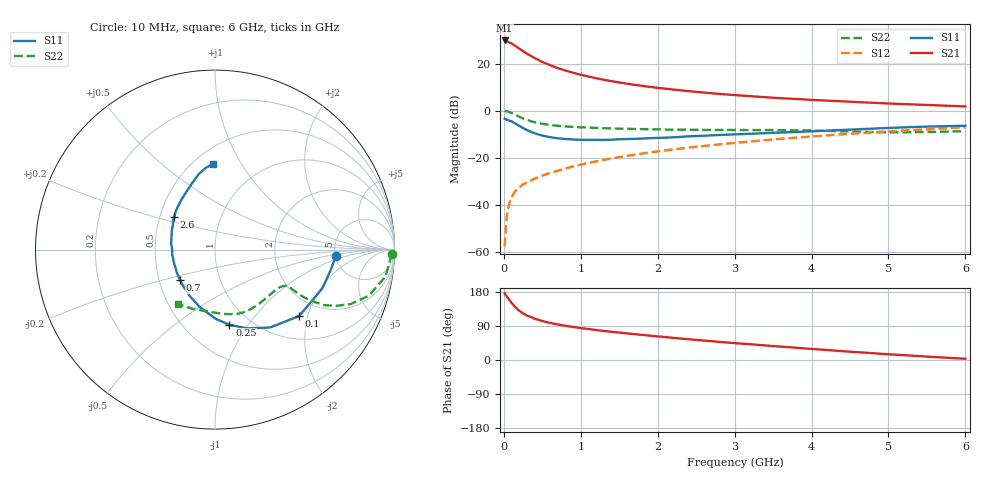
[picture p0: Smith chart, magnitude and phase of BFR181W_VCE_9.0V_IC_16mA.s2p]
! Infineon Technologies  Discrete & RF Semiconductors
! BFR181W
! VCE =  9.0 V,  IC =  16 mA
! Common Emitter S-Parameters:  Jan 2017
# GHz  S  MA  R  50
!  f  S11  S21  S12  S22
! GHz  MAG  ANG  MAG  ANG  MAG  ANG  MAG  ANG
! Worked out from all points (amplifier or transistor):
!   77 points, 10 MHz to 6 GHz, reference 50 ohm
!   highest |S21| = 29.9 dB at 10 MHz (marker M1)
!   |S21| within 3 dB of that: start of sweep to 179.9 MHz
!   unconditionally stable (mu >= 1): 872.7 MHz to 2.786 GHz
!   at 130 MHz: K = 0.33, MSG = 31.6 dB, |S12| = -35.2 dB
!   at 2.2 GHz: K = 1.04, MAG = 11.5 dB, |S12| = -16.5 dB
!   at 6 GHz: K = 0.84, MSG = 4.4 dB, |S12| = -7.1 dB
!   S11 on the Smith chart (normalised r, x): 10 MHz: 5.07, -0.61; 100 MHz: 1.53, -1.77; 250 MHz: 0.80, -0.82; 700 MHz: 0.64, -0.23; 2.6 GHz: 0.59, +0.24; 6 GHz: 0.62, +0.76
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0.01  0.6748 -2.8  31.27 176.3  0.0013 97.1  0.9868 -1.5
0.02  0.6568 -9.2  30.55 172.8  0.0021 81.6  0.9776 -3.3
0.05  0.6363 -19.8  29.64 164.4  0.0076 81.4  0.9619 -9.0
0.1  0.5974 -38.3  27.02 150.5  0.0142 76.4  0.8956 -16.6
0.15  0.5314 -54.7  23.98 139.4  0.0194 70.0  0.8161 -21.8
0.2  0.475 -67.6  20.99 130.1  0.023 65.9  0.7428 -25.0
0.25  0.4263 -79.2  18.49 123.0  0.0271 64.5  0.6839 -26.9
0.3  0.3865 -89.2  16.32 117.3  0.0293 64.3  0.6339 -27.7
0.4  0.3309 -105.0  13.16 108.9  0.0357 64.4  0.5677 -28.2
0.5  0.295 -118.2  10.91 102.8  0.0413 64.9  0.5244 -27.9
0.6  0.2724 -129.3  9.312 97.9  0.0473 66.0  0.4958 -27.4
0.7  0.2577 -139.1  8.09 93.9  0.0522 68.3  0.4763 -27.0
0.9  0.2427 -154.9  6.413 87.1  0.0648 69.1  0.451 -27.1
1.1  0.2387 -167.6  5.329 81.8  0.0773 70.1  0.4354 -27.7
1.3  0.2384 -179.0  4.549 76.7  0.0895 70.1  0.4241 -29.1
1.5  0.2459 173.1  3.985 72.4  0.1021 70.2  0.4148 -30.9
2.1  0.2664 153.2  2.937 60.5  0.1425 68.9  0.3967 -39.1
2.6  0.2924 140.9  2.428 51.3  0.1769 66.8  0.3896 -47.8
3.1  0.3171 130.5  2.093 43.1  0.213 63.9  0.3866 -56.6
4.1  0.3688 113.8  1.667 27.8  0.2896 57.1  0.3738 -74.4
5.1  0.4344 101.2  1.401 13.9  0.3696 48.7  0.3467 -99.3
6  0.4772 91.2  1.231 3.2  0.4435 40.2  0.3664 -124.1
